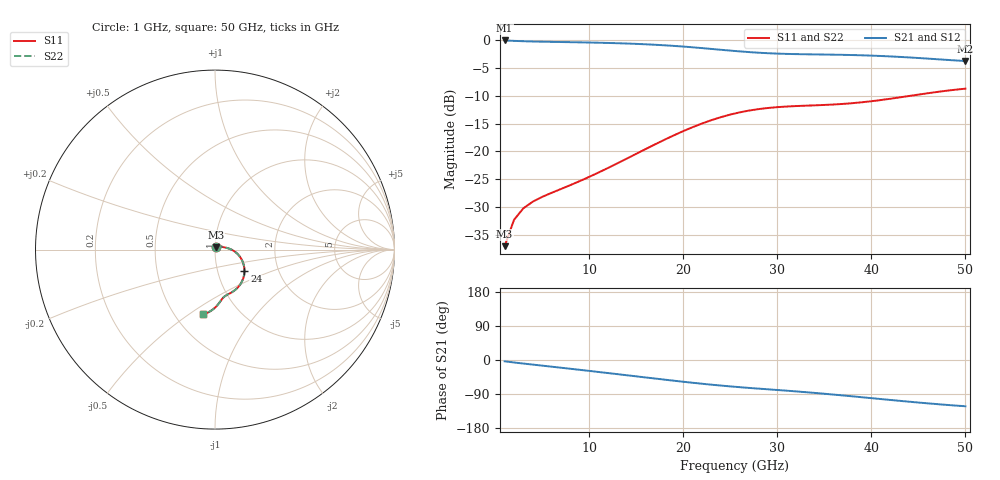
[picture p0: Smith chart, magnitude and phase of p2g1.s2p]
! Impedora 0.10.0 via model, case p2g1 (fullwave/cases.json), 2026-11-19
! One plane pair, a single stitching via on one side: ports in the antipads.
! Ports: 1 = upper end, 2 = lower end, 50 ohm.
! Compared with the fine 3D mesh.
# Hz S RI R 50
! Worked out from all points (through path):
!   50 points, 1 GHz to 50 GHz, reference 50 ohm
!   highest |S21| = -0.04 dB at 1 GHz (marker M1); lowest = -3.7 dB at 50 GHz (marker M2)
!   group delay of S21, straight-line fit = 6.65 ps
!   lowest |S11| = -37.1 dB at 1 GHz (marker M3), VSWR 1.03, Z = 50.5 + j1.32 ohm
!   |S11| at or under -10 dB: start of sweep to 44.14 GHz
!   |S22| runs from -37.1 to -8.7 dB; largest |S21 - S12| = 0
!   S11 on the Smith chart (normalised r, x): 1 GHz: 1.01, +0.03; 24 GHz: 1.34, -0.34; 50 GHz: 0.68, -0.57
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1e9  0.00506 0.0131  0.9938 -0.06  0.9938 -0.06  0.00506 0.0131
2e9  0.0149 0.0191  0.9807 -0.1127  0.9807 -0.1127  0.0149 0.0191
3e9  0.0234 0.0199  0.9667 -0.16  0.9667 -0.16  0.0234 0.0199
4e9  0.0299 0.0188  0.9526 -0.205  0.9526 -0.205  0.0299 0.0188
5e9  0.0349 0.0173  0.9379 -0.2491  0.9379 -0.2491  0.0349 0.0173
8e9  0.0479 0.0135  0.8834 -0.3778  0.8834 -0.3778  0.0479 0.0135
1e10  0.0579 0.0113  0.8361 -0.4593  0.8361 -0.4593  0.0579 0.0113
1.2e10  0.0705 0.00809  0.7793 -0.5353  0.7793 -0.5353  0.0705 0.00809
1.4e10  0.0861 0.00252  0.713 -0.6036  0.713 -0.6036  0.0861 0.00252
1.6e10  0.1047 -0.00732  0.6383 -0.6619  0.6383 -0.6619  0.1047 -0.00732
1.8e10  0.125 -0.0235  0.5571 -0.7077  0.5571 -0.7077  0.125 -0.0235
2.1e10  0.1526 -0.0634  0.431 -0.7487  0.431 -0.7487  0.1526 -0.0634
2.4e10  0.1641 -0.1198  0.3145 -0.7582  0.3145 -0.7582  0.1641 -0.1198
2.6e10  0.1574 -0.1599  0.249 -0.7538  0.249 -0.7538  0.1574 -0.1599
2.8e10  0.1401 -0.1949  0.193 -0.7479  0.193 -0.7479  0.1401 -0.1949
3e10  0.1168 -0.221  0.1426 -0.7447  0.1426 -0.7447  0.1168 -0.221
3.4e10  0.073 -0.2491  0.0398 -0.7445  0.0398 -0.7445  0.073 -0.2491
3.8e10  0.0458 -0.2677  -0.0757 -0.7319  -0.0757 -0.7319  0.0458 -0.2677
4e10  0.0355 -0.2804  -0.1344 -0.7147  -0.1344 -0.7147  0.0355 -0.2804
4.2e10  0.024 -0.2964  -0.19 -0.6897  -0.19 -0.6897  0.024 -0.2964
4.6e10  -0.0115 -0.3333  -0.2823 -0.6225  -0.2823 -0.6225  -0.0115 -0.3333
5e10  -0.067 -0.3605  -0.3452 -0.5506  -0.3452 -0.5506  -0.067 -0.3605
